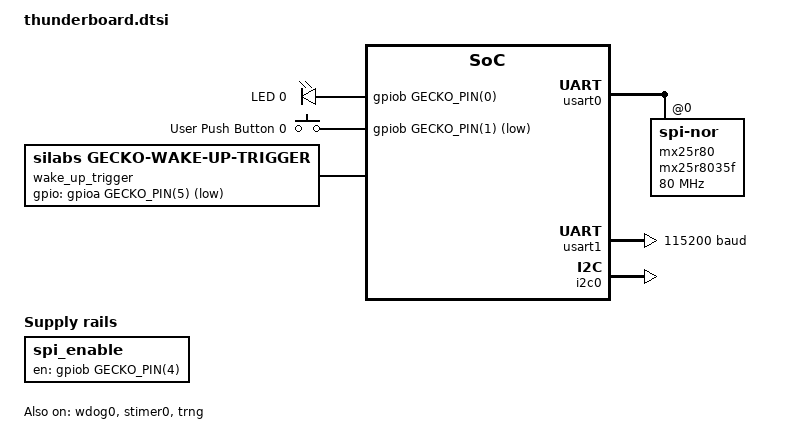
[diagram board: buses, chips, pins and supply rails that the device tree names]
/*
 * Copyright (c) 2023 Antmicro <www.antmicro.com>
 *
 * SPDX-License-Identifier: Apache-2.0
 */

/ {
	chosen {
		zephyr,console = &usart1;
		zephyr,shell-uart = &usart1;
		zephyr,sram = &sram0;
		zephyr,flash = &flash0;
	};

	leds {
		compatible = "gpio-leds";
		led0: led_0 {
			gpios = <&gpiob GECKO_PIN(0) GPIO_ACTIVE_HIGH>;
			label = "LED 0";
		};
	};

	buttons {
		compatible = "gpio-keys";
		button0: button_0 {
			gpios = <&gpiob GECKO_PIN(1) GPIO_ACTIVE_LOW>;
			label = "User Push Button 0";
		};
	};

	wake_up_trigger: gpio-wake-up  {
		compatible = "silabs,gecko-wake-up-trigger";
		gpios = <&gpioa GECKO_PIN(5) GPIO_ACTIVE_LOW>;
	};

	spi_enable: peripheral-enable {
		compatible = "regulator-fixed";
		regulator-name = "spi-enable-ctrl";
		enable-gpios = <&gpiob GECKO_PIN(4) GPIO_ACTIVE_HIGH>;
	};

};

&cpu0 {
	clock-frequency = <76800000>;
};

&usart0 {
	status = "okay";
	pinctrl-0 = <&usart0_default>;
	pinctrl-names = "default";

	cs-gpios = <&gpioc 3 GPIO_ACTIVE_LOW>;

	mx25r80: mx25r8035f@0 {
		compatible = "jedec,spi-nor";
		reg = <0>;
		spi-max-frequency = <80000000>;
		size = <0x800000>;
		jedec-id = [c2 28 14];
		sfdp-bfp = [
			 e5 20 f1 ff  ff ff 7f 00  44 eb 08 6b  08 3b 04 bb
			 ee ff ff ff  ff ff 00 ff  ff ff 00 ff  0c 20 0f 52
			 10 d8 00 ff  23 72 f5 00  82 ed 04 b7  44 83 38 44
			 30 b0 30 b0  f7 c4 d5 5c  00 be 29 ff  f0 d0 ff ff
		];
	};
};

&usart1 {
	current-speed = <115200>;
	status = "okay";
	pinctrl-0 = <&usart1_default>;
	pinctrl-names = "default";
};

&wdog0 {
	status = "okay";
};

&flash0 {
	partitions {
		compatible = "fixed-partitions";
		#address-cells = <1>;
		#size-cells = <1>;
	};
};

&gpio {
	location-swo = <0>;
	status = "okay";
};

&gpioa {
	status = "okay";
};

&gpiob {
	status = "okay";
};

&gpioc {
	status = "okay";
};

&stimer0 {
	status = "okay";
};

&trng {
	status = "okay";
};

&i2c0 {
	location-sda = <GECKO_LOCATION(3) GECKO_PORT_D GECKO_PIN(2)>;
	location-scl = <GECKO_LOCATION(3) GECKO_PORT_D GECKO_PIN(3)>;
	status = "okay";
};
